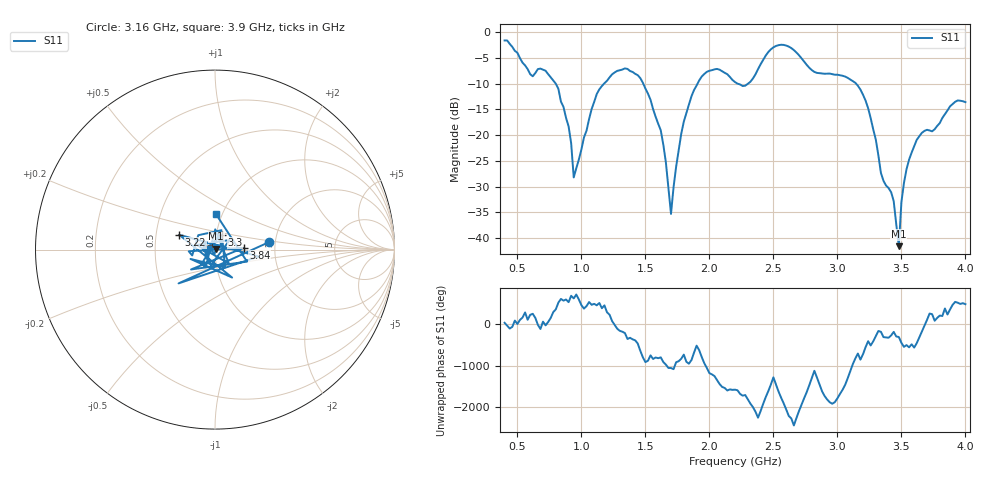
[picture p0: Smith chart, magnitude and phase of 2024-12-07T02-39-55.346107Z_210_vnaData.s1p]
!Created with skrf (http://scikit-rf.org).
# Hz S RI R 50.0
!freq ReS11 ImS11
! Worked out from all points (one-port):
!   181 points, 400 MHz to 4 GHz, reference 50 ohm
!   lowest |S11| = -41.6 dB at 3.48 GHz (marker M1), VSWR 1.02, Z = 50.6 + j0.572 ohm
!   |S11| at or under -10 dB: 799.4 MHz to 1.177 GHz (377.8 MHz wide, 38.2 % of centre); 1.483 GHz to 1.907 GHz (424.3 MHz wide, 25 % of centre); 3.146 GHz to end of sweep (the widest 3 of 4)
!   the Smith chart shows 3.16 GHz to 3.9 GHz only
!   S11 on the Smith chart (normalised r, x): 3.16 GHz: 1.84, +0.17; 3.22 GHz: 0.66, +0.11; 3.3 GHz: 1.07, +0.18; 3.84 GHz: 1.38, +0.03; 3.9 GHz: 0.93, +0.39
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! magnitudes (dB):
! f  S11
! 400 MHz  -1.6
! 620 MHz  -8.6
! 720 MHz  -7.5
! 860 MHz  -14.5
! 920 MHz  -21.6
! 940 MHz  -28.2
! 1.12 GHz  -12.0
! 1.3 GHz  -7.4
! 1.54 GHz  -13.1
! 1.62 GHz  -19.1
! 1.7 GHz  -35.3
! 1.76 GHz  -22.9
! 1.94 GHz  -8.6
! 2.2 GHz  -9.7
! 2.52 GHz  -2.7
! 2.66 GHz  -3.5
! 3.1 GHz  -9.2
! 3.16 GHz  -10.4
! 3.22 GHz  -13.3
! 3.3 GHz  -20.9
! 3.34 GHz  -27.3
! 3.44 GHz  -32.8
! 3.48 GHz  -41.6
! 3.5 GHz  -33.0
! 3.56 GHz  -24.8
! 3.84 GHz  -15.9
! 3.9 GHz  -14.0
! 4 GHz  -13.6
